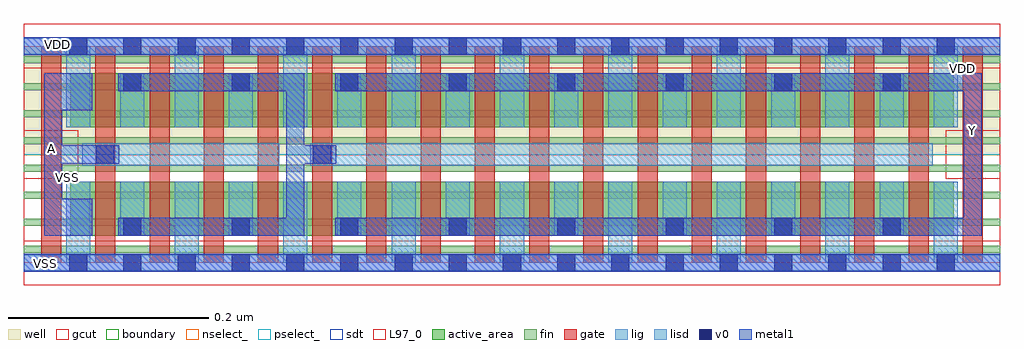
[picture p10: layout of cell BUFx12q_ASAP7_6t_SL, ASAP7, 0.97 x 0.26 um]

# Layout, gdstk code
import gdstk
lib = gdstk.Library(unit=1e-6, precision=2.5e-10)
def R(c, l, rs):  # rectangles x0, y0, x1, y1
    for r in rs: c.add(gdstk.rectangle(r[:2], r[2:], *l))
def A(c, l, x, y, w, h, nx, ny, dx, dy):  # array of equal rectangles
    R(c, l, [(x+i*dx, y+j*dy, x+i*dx+w, y+j*dy+h) for i in range(nx) for j in range(ny)])
def P(c, l, *ps):  # polygons
    for p in ps: c.add(gdstk.Polygon(p, *l))
well = (1, 0)
fin = (2, 0)
gate = (7, 0)
gcut = (10, 0)
active_area = (11, 0)
nselect_ = (12, 0)
pselect_ = (13, 0)
lig = (16, 0)
lisd = (17, 0)
v0 = (18, 0)
metal1 = (19, 0)
sdt = (88, 0)
L97_0 = (97, 0)
boundary = (100, 0)

bufx12q_asap7_6t_sl = lib.new_cell('BUFx12q_ASAP7_6t_SL')
R(bufx12q_asap7_6t_sl, well, [(0,0.108,0.972,0.216)])
A(bufx12q_asap7_6t_sl, fin, 0, 0.01, 0.972, 0.007, 1, 7, 0, 0.027)
R(bufx12q_asap7_6t_sl, fin, [(0,0.172,0.972,0.179), (0,0.199,0.972,0.206), (0,0.199,0.972,0.206)])
A(bufx12q_asap7_6t_sl, gate, 0.017, 0, 0.02, 0.216, 18, 1, 0.054, 0)
R(bufx12q_asap7_6t_sl, gcut, [(0,-0.022,0.972,0.022), (0,0.084,0.054,0.132), (0.918,0.084,0.972,0.132), (0,0.194,0.972,0.238)])
R(bufx12q_asap7_6t_sl, active_area, [(0.046,0.027,0.926,0.081), (0.046,0.135,0.926,0.189)])
R(bufx12q_asap7_6t_sl, nselect_, [(0,0,0.972,0.108)])
R(bufx12q_asap7_6t_sl, pselect_, [(0,0.108,0.972,0.216)])
R(bufx12q_asap7_6t_sl, lig, [(0,-0.008,0.972,0.008), (0.058,0.097,0.254,0.119), (0.285,0.097,0.905,0.119), (0,0.208,0.972,0.224)])
A(bufx12q_asap7_6t_sl, lisd, 0.042, 0, 0.024, 0.081, 9, 2, 0.108, 0.135)
A(bufx12q_asap7_6t_sl, lisd, 0.096, 0.027, 0.024, 0.054, 8, 2, 0.108, 0.108)
A(bufx12q_asap7_6t_sl, v0, 0.045, -0.009, 0.018, 0.018, 17, 2, 0.054, 0.216)
A(bufx12q_asap7_6t_sl, v0, 0.099, 0.027, 0.018, 0.018, 8, 2, 0.108, 0.144)
R(bufx12q_asap7_6t_sl, v0, [(0.072,0.099,0.09,0.117), (0.288,0.099,0.306,0.117)])
R(bufx12q_asap7_6t_sl, metal1, [(0,-0.009,0.972,0.009), (0,0.207,0.972,0.225)])
P(bufx12q_asap7_6t_sl, metal1, [(0.095,0.117),(0.038,0.117),(0.038,0.152),(0.068,0.152),(0.068,0.189),(0.02,0.189),(0.02,0.027),(0.068,0.027),(0.068,0.064),(0.038,0.064),(0.038,0.099),(0.095,0.099)],
  [(0.954,0.189),(0.31,0.189),(0.31,0.171),(0.936,0.171),(0.936,0.045),(0.31,0.045),(0.31,0.027),(0.954,0.027)],
  [(0.311,0.117),(0.279,0.117),(0.279,0.189),(0.094,0.189),(0.094,0.171),(0.261,0.171),(0.261,0.045),(0.094,0.045),(0.094,0.027),(0.279,0.027),(0.279,0.099),(0.311,0.099)])
A(bufx12q_asap7_6t_sl, sdt, 0.042, 0.027, 0.024, 0.054, 17, 2, 0.054, 0.108)
R(bufx12q_asap7_6t_sl, L97_0, [(0,0,0.972,0.216)])
R(bufx12q_asap7_6t_sl, boundary, [(0,0,0.972,0.216)])
bufx12q_asap7_6t_sl.add(gdstk.Label('Y', (0.945,0.132), layer=19, texttype=251))
bufx12q_asap7_6t_sl.add(gdstk.Label('A', (0.027,0.114), layer=19, texttype=251))
bufx12q_asap7_6t_sl.add(gdstk.Label('VSS', (0.021,-0.001), layer=19, texttype=251))
bufx12q_asap7_6t_sl.add(gdstk.Label('VDD', (0.033,0.218), layer=19, texttype=251))
bufx12q_asap7_6t_sl.add(gdstk.Label('VSS', (0.043,0.085), layer=3, texttype=251))
bufx12q_asap7_6t_sl.add(gdstk.Label('VDD', (0.935,0.194), layer=1, texttype=251))

lib.write_gds('BUFx12q_ASAP7_6t_SL.gds')
